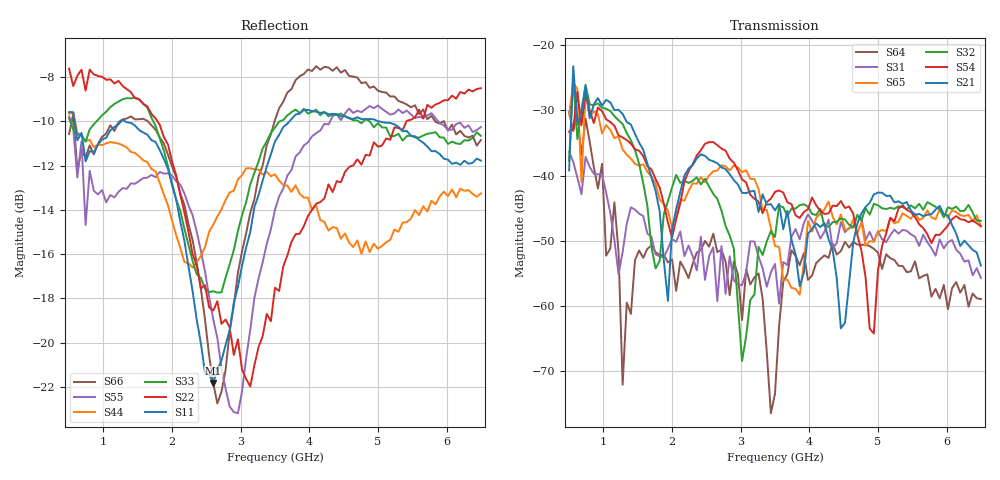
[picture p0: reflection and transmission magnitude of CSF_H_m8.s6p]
!Keysight Technologies,M9804A,MY58100912,A.14.10.03
!Date: Thursday, April 27, 2023 10:28:33
!Correction: S11(C  6-Port  )
!S12(C  6-Port  )
!S13(C  6-Port  )
!S14(C  6-Port  )
!S15(C  6-Port  )
!S16(C  6-Port  )
!S21(C  6-Port  )
!S22(C  6-Port  )
!S23(C  6-Port  )
!S24(C  6-Port  )
!S25(C  6-Port  )
!S26(C  6-Port  )
!S31(C  6-Port  )
!S32(C  6-Port  )
!S33(C  6-Port  )
!S34(C  6-Port  )
!S35(C  6-Port  )
!S36(C  6-Port  )
!S41(C  6-Port  )
!S42(C  6-Port  )
!S43(C  6-Port  )
!S44(C  6-Port  )
!S45(C  6-Port  )
!S46(C  6-Port  )
!S51(C  6-Port  )
!S52(C  6-Port  )
!S53(C  6-Port  )
!S54(C  6-Port  )
!S55(C  6-Port  )
!S56(C  6-Port  )
!S61(C  6-Port  )
!S62(C  6-Port  )
!S63(C  6-Port  )
!S64(C  6-Port  )
!S65(C  6-Port  )
!S66(C  6-Port  )
!S6P File: Measurement: :
# Hz S  RI  R 50
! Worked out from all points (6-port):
!   101 points, 500 MHz to 6.5 GHz, reference 50 ohm
!   strongest paths, dB at 500 MHz, 2 GHz, 3.5 GHz, 5 GHz, 6.5 GHz:
!     S21: -39.2, -48.3, -45.4, -42.6, -53.9
!     S54: -33.3, -49.6, -42.5, -54.6, -47.8
!     S32: -37.8, -41.8, -49.4, -44.6, -47.0
!     S65: -30.7, -48.0, -50.8, -48.7, -47.8
!     S31: -36.3, -49.8, -53.6, -48.6, -55.7
!     S64: -30.3, -52.9, -73.5, -51.8, -59.0
!   lowest |S11| = -21.8 dB at 2.6 GHz (marker M1), VSWR 1.18, Z = 42.7 + j1.97 ohm
!   |S11| at or under -10 dB: 579.4 MHz to 1.261 GHz (681.3 MHz wide, 74 % of centre); 1.315 GHz to 3.711 GHz (2.396 GHz wide, 95.3 % of centre); 5.012 GHz to end of sweep
